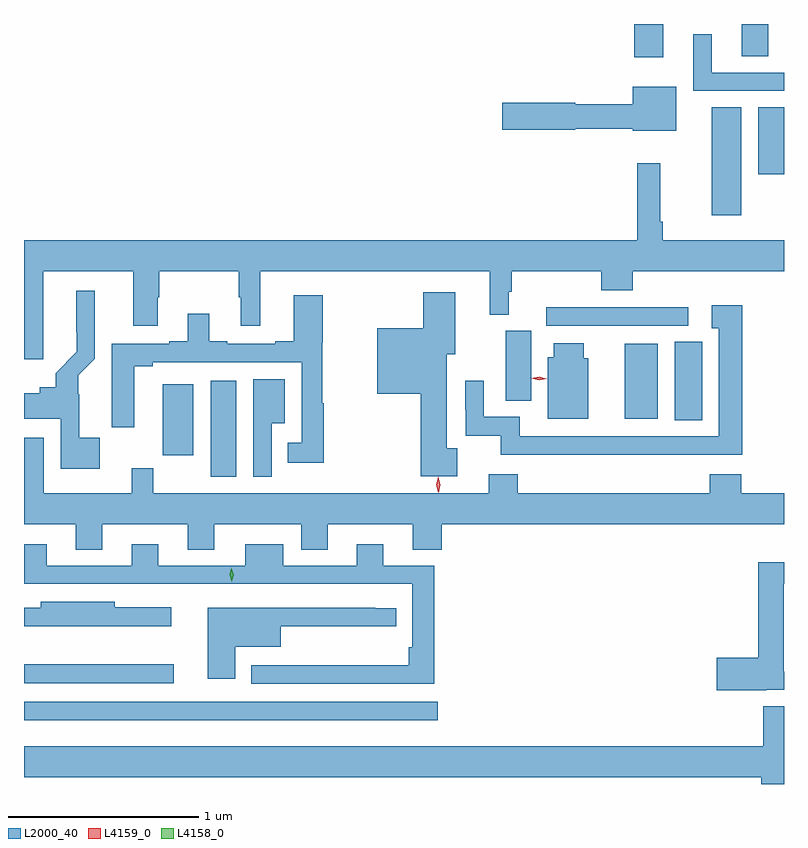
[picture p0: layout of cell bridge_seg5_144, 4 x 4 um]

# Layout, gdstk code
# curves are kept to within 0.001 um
import gdstk
lib = gdstk.Library(unit=1e-6, precision=1e-09)
def R(c, l, rs):  # rectangles x0, y0, x1, y1
    for r in rs: c.add(gdstk.rectangle(r[:2], r[2:], *l))
def P(c, l, *ps):  # polygons
    for p in ps: c.add(gdstk.Polygon(p, *l))
L2000_40 = (2000, 40)
L4158_0 = (4158, 0)
L4159_0 = (4159, 0)

bridge_seg5_144 = lib.new_cell('bridge_seg5_144')
R(bridge_seg5_144, L2000_40, [(348.632,845.072,350.809,845.169), (348.632,845.268,349.42,845.366), (349.616,846.353,349.75,846.859), (352.058,846.652,352.201,847.064), (351.794,846.659,351.967,847.054), (351.167,846.755,351.301,847.122), (351.381,847.149,352.129,847.245), (352.253,847.731,352.408,848.3), (352.496,847.947,352.632,848.3), (351.845,848.562,351.997,848.737), (352.409,848.566,352.549,848.737)])
P(bridge_seg5_144, L2000_40, [(352.632,848.481),(352.252,848.481),(352.252,848.683),(352.154,848.683),(352.154,848.385),(352.632,848.385)],
  [(352.066,848.407),(351.836,848.407),(351.836,848.314),(351.534,848.314),(351.534,848.322),(351.15,848.322),(351.15,848.18),(351.534,848.18),(351.534,848.185),(351.836,848.185),(351.836,848.174),(352.066,848.174)],
  [(348.733,847.436),(349.208,847.436),(349.208,847.149),(349.336,847.149),(349.336,847.3),(349.344,847.3),(349.344,847.436),(349.762,847.436),(349.762,847.3),(349.772,847.3),(349.772,847.149),(349.876,847.149),(349.876,847.436),(351.083,847.436),(351.083,847.207),(351.182,847.207),(351.182,847.328),(351.2,847.328),(351.2,847.436),(351.671,847.436),(351.671,847.337),(351.836,847.337),(351.836,847.436),(352.632,847.436),(352.632,847.6),(351.995,847.6),(351.995,847.696),(351.98,847.696),(351.98,848.005),(351.859,848.005),(351.859,847.6),(348.632,847.6),(348.632,846.972),(348.733,846.972)],
  [(349.03,846.559),(348.922,846.559),(348.922,846.788),(348.918,846.788),(348.918,846.888),(349.005,846.975),(349.005,847.333),(348.908,847.333),(348.909,847.011),(348.798,846.9),(348.798,846.826),(348.716,846.826),(348.716,846.794),(348.632,846.794),(348.632,846.659),(348.825,846.659),(348.825,846.395),(349.03,846.395)],
  [(350.911,846.504),(350.857,846.504),(350.857,846.998),(350.902,846.998),(350.902,847.324),(350.732,847.324),(350.732,847.135),(350.492,847.135),(350.492,846.791),(350.72,846.791),(350.72,846.356),(350.911,846.356)],
  [(350.21,846.741),(350.203,846.741),(350.203,847.06),(350.204,847.06),(350.204,847.309),(350.051,847.309),(350.051,847.066),(349.955,847.066),(349.955,847.053),(349.702,847.053),(349.702,847.066),(349.606,847.066),(349.606,847.213),(349.493,847.213),(349.493,847.066),(349.397,847.066),(349.397,847.053),(349.094,847.053),(349.094,846.615),(349.213,846.615),(349.213,846.937),(349.309,846.937),(349.309,846.957),(350.094,846.957),(350.094,846.534),(350.02,846.534),(350.02,846.429),(350.21,846.429)],
  [(352.157,846.471),(352.411,846.471),(352.411,847.258),(352.253,847.258),(352.253,847.137),(352.289,847.137),(352.289,846.567),(351.241,846.567),(351.241,846.67),(351.051,846.67),(351.051,846.859),(350.955,846.859),(350.955,846.708),(350.958,846.708),(350.958,846.57),(351.142,846.57),(351.142,846.47),(352.157,846.47)],
  [(351.601,846.978),(351.577,846.978),(351.577,847.057),(351.419,847.057),(351.419,846.982),(351.389,846.982),(351.389,846.659),(351.601,846.659)],
  [(349.935,846.635),(350.005,846.635),(350.005,846.868),(349.839,846.868),(349.839,846.353),(349.935,846.353)],
  [(349.522,846.841),(349.361,846.841),(349.361,846.574),(349.363,846.574),(349.363,846.466),(349.522,846.466)],
  [(349.311,846.398),(349.199,846.398),(349.199,846.268),(348.736,846.268),(348.736,846.559),(348.632,846.559),(348.632,846.104),(348.905,846.104),(348.905,845.971),(349.045,845.971),(349.045,846.104),(349.493,846.104),(349.493,845.971),(349.633,845.971),(349.633,846.104),(350.09,846.104),(350.09,845.971),(350.23,845.971),(350.23,846.104),(350.678,846.104),(350.678,845.971),(350.831,845.971),(350.831,846.104),(352.632,846.104),(352.632,846.268),(352.406,846.268),(352.406,846.367),(352.241,846.367),(352.241,846.268),(351.23,846.268),(351.23,846.367),(351.077,846.367),(351.077,846.268),(349.311,846.268)],
  [(350.792,845.886),(350.524,845.886),(350.524,845.998),(350.384,845.998),(350.384,845.886),(349.996,845.886),(349.996,845.998),(349.796,845.998),(349.796,845.886),(349.339,845.886),(349.339,845.998),(349.199,845.998),(349.199,845.886),(348.751,845.886),(348.751,845.998),(348.632,845.998),(348.632,845.79),(350.676,845.79),(350.676,845.458),(350.656,845.458),(350.656,845.363),(350.08,845.363),(350.08,845.361),(349.829,845.361),(349.829,845.265),(350.792,845.265)],
  [(352.539,845.232),(352.632,845.232),(352.632,845.328),(352.63,845.328),(352.63,845.792),(352.632,845.792),(352.632,845.905),(352.496,845.905),(352.496,845.402),(352.278,845.402),(352.278,845.231),(352.539,845.231)],
  [(349.408,845.668),(349.11,845.668),(349.11,845.695),(348.72,845.695),(348.72,845.664),(348.632,845.664),(348.632,845.567),(349.408,845.567)],
  [(349.744,845.459),(349.984,845.459),(349.984,845.567),(350.591,845.567),(350.591,845.663),(350.48,845.663),(350.48,845.664),(349.88,845.664),(349.88,845.665),(349.598,845.665),(349.598,845.292),(349.744,845.292)],
  [(352.632,845.146),(352.523,845.146),(352.523,844.936),(348.632,844.936),(348.632,844.772),(352.511,844.772),(352.511,844.737),(352.632,844.737)])
P(bridge_seg5_144, L4158_0, [(349.726,845.802),(349.726,845.803),(349.715,845.838),(349.723,845.873),(349.724,845.873),(349.724,845.873),(349.735,845.838),(349.726,845.803)])
P(bridge_seg5_144, L4159_0, [(351.343,846.862),(351.302,846.872),(351.302,846.872),(351.302,846.872),(351.343,846.881),(351.384,846.871),(351.384,846.871),(351.384,846.871)],
  [(350.813,846.272),(350.813,846.272),(350.803,846.312),(350.812,846.354),(350.812,846.354),(350.812,846.354),(350.823,846.313),(350.814,846.272)])

lib.write_gds('bridge_seg5_144.gds')
